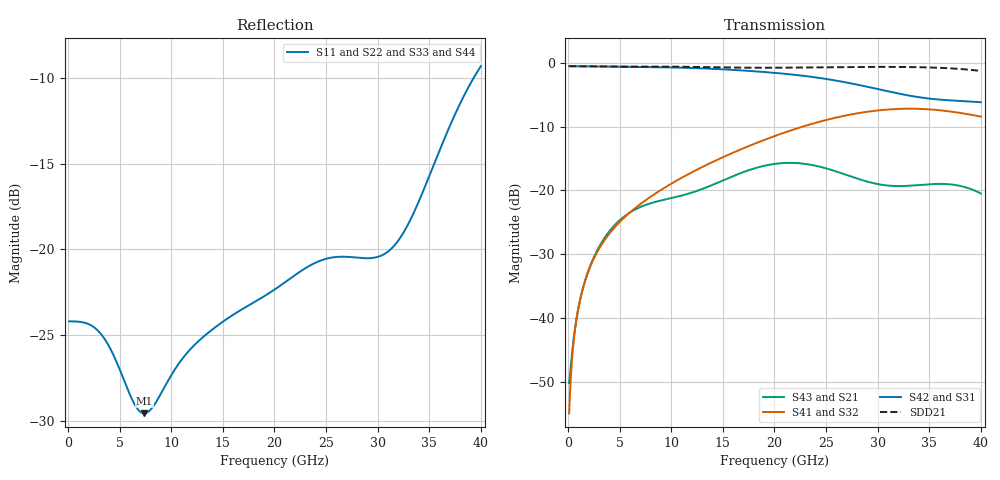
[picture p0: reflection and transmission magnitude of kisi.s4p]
! E_s8_L1L8_p1000_round_g4: pair L1→L8, pitch 1 mm, two round antipads, 4 GND vias
! stackup: 8-layer 1.6 mm FR-4 (generic)
! ports: 1 P near, 2 N near, 3 P far, 4 N far
! kisi-fdtd, conformal, dfine 0.035 mm, 768105 cells
# Hz S RI R 50
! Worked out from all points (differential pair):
!   400 points, 100 MHz to 40 GHz, reference 50 ohm
!   strongest paths, dB at 100 MHz, 10.1 GHz, 20.1 GHz, 30.1 GHz, 40 GHz:
!     S42: -0.5, -0.7, -1.6, -4.2, -6.2
!     S31: -0.5, -0.7, -1.6, -4.2, -6.2
!     S41: -54.9, -18.9, -11.4, -7.5, -8.4
!     S32: -54.9, -18.9, -11.4, -7.5, -8.4
!     S43: -50.1, -21.2, -15.8, -19.0, -20.5
!     S21: -50.1, -21.2, -15.8, -19.0, -20.5
!   taken as a pair (ports 2,1 in; 4,3 out), SDD21 dB: -0.6, -0.6, -0.8, -0.7, -1.3
!   lowest |S11| = -29.5 dB at 7.4 GHz (marker M1), VSWR 1.07, Z = 48.7 + j3.03 ohm
!   |S11| at or under -10 dB: start of sweep to 39.32 GHz
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1e8  -0.0618 0.00121  0.00292 0.00106  0.938 -0.0358  0.00129 -0.00125
     0.00292 0.00106  -0.0618 0.00121  0.00129 -0.00125  0.938 -0.0358
     0.938 -0.0358  0.00129 -0.00125  -0.0618 0.00121  0.00292 0.00106
     0.00129 -0.00125  0.938 -0.0358  0.00292 0.00106  -0.0618 0.00121
7.4e9  -0.0121 0.0311  0.0224 -0.073  -0.8708 -0.3078  -0.0225 0.0794
       0.0224 -0.073  -0.0121 0.0311  -0.0225 0.0794  -0.8708 -0.3078
       -0.8708 -0.3078  -0.0225 0.0794  -0.0121 0.0311  0.0224 -0.073
       -0.0225 0.0794  -0.8708 -0.3078  0.0224 -0.073  -0.0121 0.0311
1.2e10  0.0328 0.0401  -0.0954 -0.0116  -0.1395 0.8978  0.138 0.0134
        -0.0954 -0.0116  0.0328 0.0401  0.138 0.0134  -0.1395 0.8978
        -0.1395 0.8978  0.138 0.0134  0.0328 0.0401  -0.0954 -0.0116
        0.138 0.0134  -0.1395 0.8978  -0.0954 -0.0116  0.0328 0.0401
1.63e10  0.0479 -0.0446  -0.00673 0.1322  0.8723 0.0636  -0.00307 -0.2024
         -0.00673 0.1322  0.0479 -0.0446  -0.00307 -0.2024  0.8723 0.0636
         0.8723 0.0636  -0.00307 -0.2024  0.0479 -0.0446  -0.00673 0.1322
         -0.00307 -0.2024  0.8723 0.0636  -0.00673 0.1322  0.0479 -0.0446
2.4e10  -0.0885 -0.0236  0.00137 -0.1559  -0.7458 -0.1769  0.0158 0.3381
        0.00137 -0.1559  -0.0885 -0.0236  0.0158 0.3381  -0.7458 -0.1769
        -0.7458 -0.1769  0.0158 0.3381  -0.0885 -0.0236  0.00137 -0.1559
        0.0158 0.3381  -0.7458 -0.1769  0.00137 -0.1559  -0.0885 -0.0236
3.24e10  0.0549 0.0961  0.0391 0.1008  0.5539 0.1116  -0.2401 -0.3633
         0.0391 0.1008  0.0549 0.0961  -0.2401 -0.3633  0.5539 0.1116
         0.5539 0.1116  -0.2401 -0.3633  0.0549 0.0961  0.0391 0.1008
         -0.2401 -0.3633  0.5539 0.1116  0.0391 0.1008  0.0549 0.0961
4e10  0.1183 -0.3201  -0.0682 -0.0657  -0.4148 -0.2606  0.26 0.275
      -0.0682 -0.0657  0.1183 -0.3201  0.26 0.275  -0.4148 -0.2606
      -0.4148 -0.2606  0.26 0.275  0.1183 -0.3201  -0.0682 -0.0657
      0.26 0.275  -0.4148 -0.2606  -0.0682 -0.0657  0.1183 -0.3201
